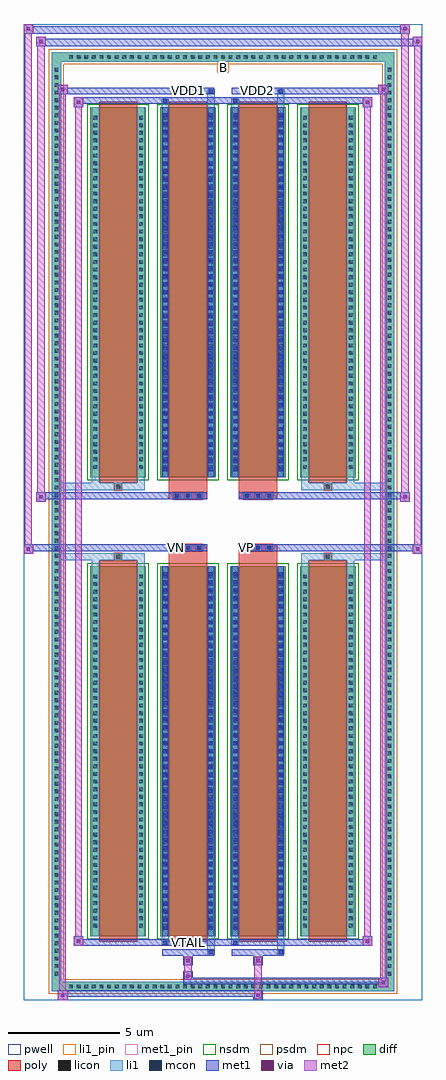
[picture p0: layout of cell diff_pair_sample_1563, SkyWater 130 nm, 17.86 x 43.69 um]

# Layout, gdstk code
import gdstk
lib = gdstk.Library(unit=1e-6, precision=5e-09)
def R(c, l, rs):  # rectangles x0, y0, x1, y1
    for r in rs: c.add(gdstk.rectangle(r[:2], r[2:], *l))
def A(c, l, x, y, w, h, nx, ny, dx, dy):  # array of equal rectangles
    R(c, l, [(x+i*dx, y+j*dy, x+i*dx+w, y+j*dy+h) for i in range(nx) for j in range(ny)])
def P(c, l, *ps):  # polygons
    for p in ps: c.add(gdstk.Polygon(p, *l))
pwell = (64, 44)
diff = (65, 20)
poly = (66, 20)
licon = (66, 44)
li1_pin = (67, 16)
li1 = (67, 20)
mcon = (67, 44)
met1_pin = (68, 16)
met1 = (68, 20)
via = (68, 44)
met2 = (69, 20)
nsdm = (93, 44)
psdm = (94, 20)
npc = (95, 20)

diff_pair_sample_1563 = lib.new_cell('diff_pair_sample_1563')
R(diff_pair_sample_1563, pwell, [(-8.93,-21.41,8.93,22.28), (-6.25,-19.6,-0.01,-0.8), (0.01,-19.6,6.25,-0.8), (-6.25,0.8,-0.01,19.6), (0.01,0.8,6.25,19.6)])
A(diff_pair_sample_1563, diff, -7.005, -21.01, 0.41, 0.41, 41, 2, 0.34, 41.61)
A(diff_pair_sample_1563, diff, -7.66, -20.435, 0.41, 0.41, 1, 120, 0, 0.34)
A(diff_pair_sample_1563, diff, 7.25, -20.435, 0.41, 0.41, 1, 120, 0, 0.34)
A(diff_pair_sample_1563, diff, -5.94, -18.555, 2.49, 16.57, 4, 2, 3.13, 20.54)
R(diff_pair_sample_1563, diff, [(-7.005,-21.01,7.005,-20.6), (-7.66,-20.435,-7.25,20.435), (7.25,-20.435,7.66,20.435), (-7.005,20.6,7.005,21.01)])
P(diff_pair_sample_1563, diff, [(7.66,21.01),(-7.66,21.01),(-7.66,-20.6),(-7.25,-20.6),(-7.25,20.6),(7.25,20.6),(7.25,-20.6),(-7.25,-20.6),(-7.66,-20.6),(-7.66,-21.01),(7.66,-21.01)])
A(diff_pair_sample_1563, poly, -5.55, -18.805, 1.71, 17.07, 4, 2, 3.13, 20.54)
A(diff_pair_sample_1563, poly, -2.23, -1.33, 0.33, 0.33, 3, 2, 0.5, 2.33)
A(diff_pair_sample_1563, poly, 0.9, -1.33, 0.33, 0.33, 3, 2, 0.5, 2.33)
R(diff_pair_sample_1563, poly, [(-4.86,-1.735,-4.53,-1.405), (-4.86,-1.735,-4.53,-1.405), (-2.42,-1.735,-0.71,-1.33), (0.71,-1.735,2.42,-1.33), (4.53,-1.735,4.86,-1.405), (4.53,-1.735,4.86,-1.405), (-2.42,-1.33,-0.71,-1), (0.71,-1.33,2.42,-1), (-2.42,1,-0.71,1.33), (0.71,1,2.42,1.33), (-2.42,1.33,-0.71,1.735), (0.71,1.33,2.42,1.735), (-4.86,1.405,-4.53,1.735), (-4.86,1.405,-4.53,1.735), (4.53,1.405,4.86,1.735), (4.53,1.405,4.86,1.735)])
A(diff_pair_sample_1563, licon, -6.885, -20.89, 0.17, 0.17, 41, 2, 0.34, 41.61)
A(diff_pair_sample_1563, licon, -7.54, -20.315, 0.17, 0.17, 1, 120, 0, 0.34)
A(diff_pair_sample_1563, licon, 7.37, -20.315, 0.17, 0.17, 1, 120, 0, 0.34)
A(diff_pair_sample_1563, licon, -5.8, -18.175, 0.17, 0.17, 1, 47, 0, 0.34)
A(diff_pair_sample_1563, licon, -3.76, -18.175, 0.17, 0.17, 1, 47, 0, 0.34)
A(diff_pair_sample_1563, licon, -2.67, -18.175, 0.17, 0.17, 1, 47, 0, 0.34)
A(diff_pair_sample_1563, licon, -0.63, -18.175, 0.17, 0.17, 1, 47, 0, 0.34)
A(diff_pair_sample_1563, licon, 0.46, -18.175, 0.17, 0.17, 1, 47, 0, 0.34)
A(diff_pair_sample_1563, licon, 2.5, -18.175, 0.17, 0.17, 1, 47, 0, 0.34)
A(diff_pair_sample_1563, licon, 3.59, -18.175, 0.17, 0.17, 1, 47, 0, 0.34)
A(diff_pair_sample_1563, licon, 5.63, -18.175, 0.17, 0.17, 1, 47, 0, 0.34)
A(diff_pair_sample_1563, licon, -2.15, -1.25, 0.17, 0.17, 3, 2, 0.5, 2.33)
A(diff_pair_sample_1563, licon, 0.98, -1.25, 0.17, 0.17, 3, 2, 0.5, 2.33)
A(diff_pair_sample_1563, licon, -5.8, 2.365, 0.17, 0.17, 1, 47, 0, 0.34)
A(diff_pair_sample_1563, licon, -3.76, 2.365, 0.17, 0.17, 1, 47, 0, 0.34)
A(diff_pair_sample_1563, licon, -2.67, 2.365, 0.17, 0.17, 1, 47, 0, 0.34)
A(diff_pair_sample_1563, licon, -0.63, 2.365, 0.17, 0.17, 1, 47, 0, 0.34)
A(diff_pair_sample_1563, licon, 0.46, 2.365, 0.17, 0.17, 1, 47, 0, 0.34)
A(diff_pair_sample_1563, licon, 2.5, 2.365, 0.17, 0.17, 1, 47, 0, 0.34)
A(diff_pair_sample_1563, licon, 3.59, 2.365, 0.17, 0.17, 1, 47, 0, 0.34)
A(diff_pair_sample_1563, licon, 5.63, 2.365, 0.17, 0.17, 1, 47, 0, 0.34)
R(diff_pair_sample_1563, licon, [(-4.78,-1.655,-4.61,-1.485), (4.61,-1.655,4.78,-1.485), (-4.78,1.485,-4.61,1.655), (4.61,1.485,4.78,1.655)])
R(diff_pair_sample_1563, li1_pin, [(-0.25,20.1,0.25,20.6)])
A(diff_pair_sample_1563, li1, -6.965, -20.97, 0.33, 0.33, 41, 2, 0.34, 41.61)
A(diff_pair_sample_1563, li1, -7.62, -20.395, 0.33, 0.33, 1, 120, 0, 0.34)
A(diff_pair_sample_1563, li1, 7.29, -20.395, 0.33, 0.33, 1, 120, 0, 0.34)
A(diff_pair_sample_1563, li1, -2.67, -18.275, 0.17, 0.17, 1, 45, 0, 0.36)
A(diff_pair_sample_1563, li1, -0.63, -18.275, 0.17, 0.17, 1, 45, 0, 0.36)
A(diff_pair_sample_1563, li1, 0.46, -18.275, 0.17, 0.17, 1, 45, 0, 0.36)
A(diff_pair_sample_1563, li1, 2.5, -18.275, 0.17, 0.17, 1, 45, 0, 0.36)
A(diff_pair_sample_1563, li1, -5.88, -18.255, 0.33, 0.33, 1, 47, 0, 0.34)
A(diff_pair_sample_1563, li1, -3.84, -18.255, 0.33, 0.33, 1, 47, 0, 0.34)
A(diff_pair_sample_1563, li1, -2.75, -18.255, 0.33, 0.33, 1, 47, 0, 0.34)
A(diff_pair_sample_1563, li1, -0.71, -18.255, 0.33, 0.33, 1, 47, 0, 0.34)
A(diff_pair_sample_1563, li1, 0.38, -18.255, 0.33, 0.33, 1, 47, 0, 0.34)
A(diff_pair_sample_1563, li1, 2.42, -18.255, 0.33, 0.33, 1, 47, 0, 0.34)
A(diff_pair_sample_1563, li1, 3.51, -18.255, 0.33, 0.33, 1, 47, 0, 0.34)
A(diff_pair_sample_1563, li1, 5.55, -18.255, 0.33, 0.33, 1, 47, 0, 0.34)
A(diff_pair_sample_1563, li1, -2.23, -1.33, 0.33, 0.33, 3, 2, 0.5, 2.33)
A(diff_pair_sample_1563, li1, 0.9, -1.33, 0.33, 0.33, 3, 2, 0.5, 2.33)
A(diff_pair_sample_1563, li1, -2.67, 2.265, 0.17, 0.17, 1, 45, 0, 0.36)
A(diff_pair_sample_1563, li1, -0.63, 2.265, 0.17, 0.17, 1, 45, 0, 0.36)
A(diff_pair_sample_1563, li1, 0.46, 2.265, 0.17, 0.17, 1, 45, 0, 0.36)
A(diff_pair_sample_1563, li1, 2.5, 2.265, 0.17, 0.17, 1, 45, 0, 0.36)
A(diff_pair_sample_1563, li1, -5.88, 2.285, 0.33, 0.33, 1, 47, 0, 0.34)
A(diff_pair_sample_1563, li1, -3.84, 2.285, 0.33, 0.33, 1, 47, 0, 0.34)
A(diff_pair_sample_1563, li1, -2.75, 2.285, 0.33, 0.33, 1, 47, 0, 0.34)
A(diff_pair_sample_1563, li1, -0.71, 2.285, 0.33, 0.33, 1, 47, 0, 0.34)
A(diff_pair_sample_1563, li1, 0.38, 2.285, 0.33, 0.33, 1, 47, 0, 0.34)
A(diff_pair_sample_1563, li1, 2.42, 2.285, 0.33, 0.33, 1, 47, 0, 0.34)
A(diff_pair_sample_1563, li1, 3.51, 2.285, 0.33, 0.33, 1, 47, 0, 0.34)
A(diff_pair_sample_1563, li1, 5.55, 2.285, 0.33, 0.33, 1, 47, 0, 0.34)
R(diff_pair_sample_1563, li1, [(-7.66,-21.01,-7.25,-20.6), (-7.66,-21.01,-7.25,-20.6), (-7.25,-21.01,7.25,-20.6), (7.25,-21.01,7.66,-20.6), (7.25,-21.01,7.66,-20.6), (-7.66,-20.6,-7.25,20.6), (7.25,-20.6,7.66,20.6), (-0.71,-19.36,-0.38,-18.555), (-0.63,-19.36,-0.46,-19.19), (2.42,-19.36,2.75,-18.555), (2.5,-19.36,2.67,-19.19), (-2.75,-18.93,-2.42,-18.555), (-2.67,-18.93,-2.5,-18.76), (0.38,-18.93,0.71,-18.555), (0.46,-18.93,0.63,-18.76), (-5.88,-18.555,-5.55,-1.985), (-3.84,-18.555,-3.51,-1.985), (-2.75,-18.555,-2.42,-1.985), (-0.71,-18.555,-0.38,-1.985), (0.38,-18.555,0.71,-1.985), (2.42,-18.555,2.75,-1.985), (3.51,-18.555,3.84,-1.985), (5.55,-18.555,5.88,-1.985), (-2.67,-18.275,-2.5,-2.265), (-0.63,-18.275,-0.46,-2.265), (0.46,-18.275,0.63,-2.265), (2.5,-18.275,2.67,-2.265), (-5.88,-1.985,-5.55,-1.405), (-3.84,-1.985,-3.51,-1.405), (3.51,-1.985,3.84,-1.405), (5.55,-1.985,5.88,-1.405), (-7.66,-1.735,-4.86,-1.405), (-5.88,-1.735,-4.86,-1.405), (-4.86,-1.735,-4.53,-1.405), (-4.53,-1.735,-3.51,-1.405), (3.51,-1.735,4.53,-1.405), (4.53,-1.735,4.86,-1.405), (4.53,-1.735,7.66,-1.405), (4.86,-1.735,5.88,-1.405), (-7.66,1.405,-4.86,1.735), (-5.88,1.405,-4.86,1.735), (-5.88,1.405,-5.55,1.985), (-4.86,1.405,-4.53,1.735), (-4.53,1.405,-3.51,1.735), (-3.84,1.405,-3.51,1.985), (3.51,1.405,4.53,1.735), (3.51,1.405,3.84,1.985), (4.53,1.405,4.86,1.735), (4.53,1.405,7.66,1.735), (4.86,1.405,5.88,1.735), (5.55,1.405,5.88,1.985), (-5.88,1.985,-5.55,18.555), (-3.84,1.985,-3.51,18.555), (-2.75,1.985,-2.42,18.555), (-0.71,1.985,-0.38,18.555), (0.38,1.985,0.71,18.555), (2.42,1.985,2.75,18.555), (3.51,1.985,3.84,18.555), (5.55,1.985,5.88,18.555), (-2.67,2.265,-2.5,18.275), (-0.63,2.265,-0.46,18.275), (0.46,2.265,0.63,18.275), (2.5,2.265,2.67,18.275), (-2.75,18.555,-2.42,18.93), (-0.71,18.555,-0.38,19.36), (0.38,18.555,0.71,18.93), (2.42,18.555,2.75,19.36), (-2.67,18.76,-2.5,18.93), (0.46,18.76,0.63,18.93), (-0.63,19.19,-0.46,19.36), (2.5,19.19,2.67,19.36), (-7.66,20.6,-7.25,21.01), (-7.66,20.6,-7.25,21.01), (-7.25,20.6,7.25,21.01), (7.25,20.6,7.66,21.01), (7.25,20.6,7.66,21.01)])
A(diff_pair_sample_1563, mcon, -2.67, -18.275, 0.17, 0.17, 1, 45, 0, 0.36)
A(diff_pair_sample_1563, mcon, -0.63, -18.275, 0.17, 0.17, 1, 45, 0, 0.36)
A(diff_pair_sample_1563, mcon, 0.46, -18.275, 0.17, 0.17, 1, 45, 0, 0.36)
A(diff_pair_sample_1563, mcon, 2.5, -18.275, 0.17, 0.17, 1, 45, 0, 0.36)
A(diff_pair_sample_1563, mcon, -2.15, -1.25, 0.17, 0.17, 3, 2, 0.5, 2.33)
A(diff_pair_sample_1563, mcon, 0.98, -1.25, 0.17, 0.17, 3, 2, 0.5, 2.33)
A(diff_pair_sample_1563, mcon, -2.67, 2.265, 0.17, 0.17, 1, 45, 0, 0.36)
A(diff_pair_sample_1563, mcon, -0.63, 2.265, 0.17, 0.17, 1, 45, 0, 0.36)
A(diff_pair_sample_1563, mcon, 0.46, 2.265, 0.17, 0.17, 1, 45, 0, 0.36)
A(diff_pair_sample_1563, mcon, 2.5, 2.265, 0.17, 0.17, 1, 45, 0, 0.36)
R(diff_pair_sample_1563, mcon, [(-0.63,-19.36,-0.46,-19.19), (2.5,-19.36,2.67,-19.19), (-2.67,-18.93,-2.5,-18.76), (0.46,-18.93,0.63,-18.76), (-2.67,18.76,-2.5,18.93), (0.46,18.76,0.63,18.93), (-0.63,19.19,-0.46,19.36), (2.5,19.19,2.67,19.36)])
R(diff_pair_sample_1563, met1_pin, [(-1.7,-18.97,-1.43,-18.7), (-2.2,-1.29,-1.93,-1.02), (0.93,-1.29,1.2,-1.02), (-1.7,19.15,-1.43,19.42), (1.43,19.15,1.7,19.42)])
A(diff_pair_sample_1563, met1, -2.73, -18.335, 0.29, 0.29, 1, 45, 0, 0.36)
A(diff_pair_sample_1563, met1, -0.69, -18.335, 0.29, 0.29, 1, 45, 0, 0.36)
A(diff_pair_sample_1563, met1, 0.4, -18.335, 0.29, 0.29, 1, 45, 0, 0.36)
A(diff_pair_sample_1563, met1, 2.44, -18.335, 0.29, 0.29, 1, 45, 0, 0.36)
A(diff_pair_sample_1563, met1, -2.21, -1.31, 0.29, 0.29, 3, 2, 0.5, 2.33)
A(diff_pair_sample_1563, met1, 0.92, -1.31, 0.29, 0.29, 3, 2, 0.5, 2.33)
A(diff_pair_sample_1563, met1, -2.73, 2.205, 0.29, 0.29, 1, 45, 0, 0.36)
A(diff_pair_sample_1563, met1, -0.69, 2.205, 0.29, 0.29, 1, 45, 0, 0.36)
A(diff_pair_sample_1563, met1, 0.4, 2.205, 0.29, 0.29, 1, 45, 0, 0.36)
A(diff_pair_sample_1563, met1, 2.44, 2.205, 0.29, 0.29, 1, 45, 0, 0.36)
R(diff_pair_sample_1563, met1, [(-7.39,-21.41,-6.96,-20.98), (1.35,-21.41,1.78,-20.98), (-7.39,-21.27,1.78,-20.98), (6.96,-20.84,7.39,-20.41), (-1.78,-20.7,7.39,-20.41), (-1.78,-20.56,-1.35,-20.13), (-1.78,-19.85,-1.35,-19.42), (1.35,-19.85,1.78,-19.42), (-2.73,-19.42,-0.4,-19.13), (-0.69,-19.42,-0.4,-19.13), (0.4,-19.42,2.73,-19.13), (2.44,-19.42,2.73,-19.13), (-6.68,-18.99,-6.25,-18.56), (-6.68,-18.99,-2.73,-18.7), (-2.73,-18.99,-2.44,-18.7), (-2.73,-18.99,-0.4,-18.7), (-0.4,-18.99,0.4,-18.7), (0.4,-18.99,0.69,-18.7), (0.4,-18.99,2.73,-18.7), (2.73,-18.99,6.68,-18.7), (6.25,-18.99,6.68,-18.56), (-2.73,-18.555,-2.44,-1.985), (-0.69,-18.555,-0.4,-1.985), (0.4,-18.555,0.69,-1.985), (2.44,-18.555,2.73,-1.985), (-8.93,-1.43,-8.5,-1), (8.5,-1.43,8.93,-1), (-8.93,-1.33,-0.71,-1), (-2.42,-1.33,-0.71,-1), (0.71,-1.33,2.42,-1), (0.71,-1.33,8.93,-1), (-8.36,0.9,-7.93,1.33), (7.93,0.9,8.36,1.33), (-8.36,1,-2.42,1.33), (-2.42,1,-0.71,1.33), (0.71,1,2.42,1.33), (2.42,1,8.36,1.33), (-2.73,1.985,-2.44,18.555), (-0.69,1.985,-0.4,18.555), (0.4,1.985,0.69,18.555), (2.44,1.985,2.73,18.555), (-6.68,18.56,-6.25,18.99), (6.25,18.56,6.68,18.99), (-6.68,18.7,-2.73,18.99), (-2.73,18.7,-2.44,18.99), (-2.73,18.7,-0.4,18.99), (-0.4,18.7,0.4,18.99), (0.4,18.7,0.69,18.99), (0.4,18.7,2.73,18.99), (2.73,18.7,6.68,18.99), (-7.39,19.13,-6.96,19.56), (-7.39,19.13,-2.73,19.42), (-2.73,19.13,-0.4,19.42), (-0.69,19.13,-0.4,19.42), (0.4,19.13,2.73,19.42), (2.44,19.13,2.73,19.42), (2.73,19.13,7.39,19.42), (6.96,19.13,7.39,19.56), (-8.36,21.28,-7.93,21.71), (-8.36,21.28,-6.25,21.61), (-6.25,21.28,6.25,21.61), (6.25,21.28,8.93,21.61), (8.5,21.28,8.93,21.71), (-8.93,21.85,-8.5,22.28), (-8.93,21.85,-6.25,22.18), (-6.25,21.85,6.25,22.18), (6.25,21.85,8.36,22.18), (7.93,21.85,8.36,22.28)])
R(diff_pair_sample_1563, via, [(-7.25,-21.27,-7.1,-21.12), (1.49,-21.27,1.64,-21.12), (7.1,-20.7,7.25,-20.55), (-1.64,-20.42,-1.49,-20.27), (-1.64,-19.71,-1.49,-19.56), (1.49,-19.71,1.64,-19.56), (-6.54,-18.85,-6.39,-18.7), (6.39,-18.85,6.54,-18.7), (-8.79,-1.29,-8.64,-1.14), (8.64,-1.29,8.79,-1.14), (-8.22,1.04,-8.07,1.19), (8.07,1.04,8.22,1.19), (-6.54,18.7,-6.39,18.85), (6.39,18.7,6.54,18.85), (-7.25,19.27,-7.1,19.42), (7.1,19.27,7.25,19.42), (-8.22,21.42,-8.07,21.57), (8.64,21.42,8.79,21.57), (-8.79,21.99,-8.64,22.14), (8.07,21.99,8.22,22.14)])
R(diff_pair_sample_1563, met2, [(-7.39,-21.41,-6.96,-20.98), (-7.32,-21.41,-7.03,19.56), (-7.03,-21.41,-6.96,-20.98), (-7.34,-21.36,-7.01,-21.03), (1.4,-21.36,1.73,-21.03), (1.4,-21.03,1.73,-19.8), (6.96,-20.84,7.39,-20.41), (7.03,-20.84,7.32,19.56), (7.32,-20.84,7.39,-20.41), (7.01,-20.79,7.34,-20.46), (-1.73,-20.51,-1.4,-20.18), (-1.73,-20.18,-1.4,-19.8), (-1.73,-19.8,-1.4,-19.47), (1.4,-19.8,1.73,-19.47), (-6.68,-18.99,-6.25,-18.56), (-6.61,-18.99,-6.32,18.99), (-6.32,-18.99,-6.25,-18.56), (6.25,-18.99,6.68,-18.56), (6.32,-18.99,6.61,18.99), (6.61,-18.99,6.68,-18.56), (-6.63,-18.94,-6.3,-18.61), (6.3,-18.94,6.63,-18.61), (-8.93,-1.43,-8.5,-1), (-8.88,-1.43,-8.55,22.28), (-8.55,-1.43,-8.5,-1), (8.5,-1.43,8.93,-1), (8.55,-1.43,8.88,21.71), (8.88,-1.43,8.93,-1), (-8.88,-1.38,-8.55,-1.05), (8.55,-1.38,8.88,-1.05), (-8.36,0.9,-7.93,1.33), (-8.31,0.9,-7.98,21.71), (-7.98,0.9,-7.93,1.33), (7.93,0.9,8.36,1.33), (7.98,0.9,8.31,22.28), (8.31,0.9,8.36,1.33), (-8.31,0.95,-7.98,1.28), (7.98,0.95,8.31,1.28), (-6.68,18.56,-6.25,18.99), (-6.32,18.56,-6.25,18.99), (6.25,18.56,6.68,18.99), (6.61,18.56,6.68,18.99), (-6.63,18.61,-6.3,18.94), (6.3,18.61,6.63,18.94), (-7.39,19.13,-6.96,19.56), (-7.03,19.13,-6.96,19.56), (6.96,19.13,7.39,19.56), (7.32,19.13,7.39,19.56), (-7.34,19.18,-7.01,19.51), (7.01,19.18,7.34,19.51), (-8.36,21.28,-7.93,21.71), (-7.98,21.28,-7.93,21.71), (8.5,21.28,8.93,21.71), (8.88,21.28,8.93,21.71), (-8.31,21.33,-7.98,21.66), (8.55,21.33,8.88,21.66), (-8.93,21.85,-8.5,22.28), (-8.55,21.85,-8.5,22.28), (7.93,21.85,8.36,22.28), (8.31,21.85,8.36,22.28), (-8.88,21.9,-8.55,22.23), (7.98,21.9,8.31,22.23)])
A(diff_pair_sample_1563, nsdm, -6.07, -18.685, 2.75, 16.83, 4, 2, 3.13, 20.54)
P(diff_pair_sample_1563, psdm, [(7.79,21.14),(-7.79,21.14),(-7.79,-20.47),(-7.12,-20.47),(-7.12,20.47),(7.12,20.47),(7.12,-20.47),(-7.12,-20.47),(-7.79,-20.47),(-7.79,-21.14),(7.79,-21.14)])
A(diff_pair_sample_1563, npc, -2.25, -1.35, 0.37, 0.37, 3, 2, 0.5, 2.33)
A(diff_pair_sample_1563, npc, 0.88, -1.35, 0.37, 0.37, 3, 2, 0.5, 2.33)
R(diff_pair_sample_1563, npc, [(-4.88,-1.755,-4.51,-1.385), (4.51,-1.755,4.88,-1.385), (-2.25,-1.35,-1.38,-0.98), (-2.25,-1.35,-1.38,-0.98), (-1.75,-1.35,-0.88,-0.98), (-1.75,-1.35,-0.88,-0.98), (0.88,-1.35,1.75,-0.98), (0.88,-1.35,1.75,-0.98), (1.38,-1.35,2.25,-0.98), (1.38,-1.35,2.25,-0.98), (-2.25,0.98,-1.38,1.35), (-2.25,0.98,-1.38,1.35), (-1.75,0.98,-0.88,1.35), (-1.75,0.98,-0.88,1.35), (0.88,0.98,1.75,1.35), (0.88,0.98,1.75,1.35), (1.38,0.98,2.25,1.35), (1.38,0.98,2.25,1.35), (-4.88,1.385,-4.51,1.755), (4.51,1.385,4.88,1.755)])
diff_pair_sample_1563.add(gdstk.Label('VTAIL', (-1.565,-18.835), layer=68, texttype=5))
diff_pair_sample_1563.add(gdstk.Label('VN', (-2.065,-1.155), layer=68, texttype=5))
diff_pair_sample_1563.add(gdstk.Label('VP', (1.065,-1.155), layer=68, texttype=5))
diff_pair_sample_1563.add(gdstk.Label('B', (0,20.35), layer=67, texttype=5))
diff_pair_sample_1563.add(gdstk.Label('VDD2', (1.565,19.285), layer=68, texttype=5))
diff_pair_sample_1563.add(gdstk.Label('VDD1', (-1.565,19.285), layer=68, texttype=5))

lib.write_gds('diff_pair_sample_1563.gds')
